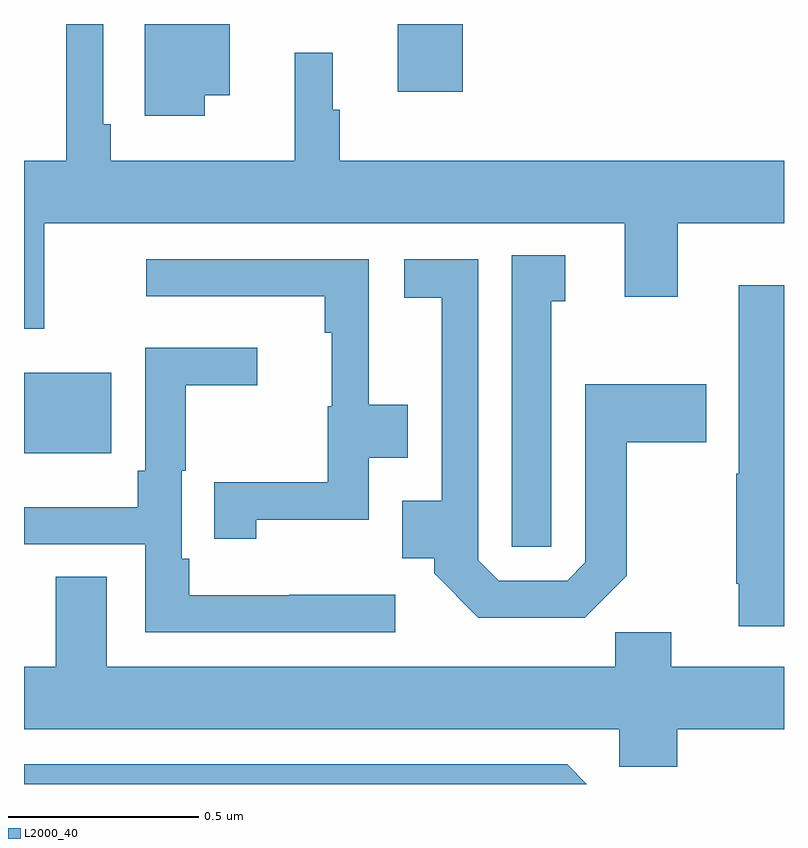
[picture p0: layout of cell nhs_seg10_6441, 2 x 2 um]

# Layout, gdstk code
import gdstk
lib = gdstk.Library(unit=1e-6, precision=1e-09)
def R(c, l, rs):  # rectangles x0, y0, x1, y1
    for r in rs: c.add(gdstk.rectangle(r[:2], r[2:], *l))
def P(c, l, *ps):  # polygons
    for p in ps: c.add(gdstk.Polygon(p, *l))
L2000_40 = (2000, 40)

nhs_seg10_6441 = lib.new_cell('nhs_seg10_6441')
R(nhs_seg10_6441, L2000_40, [(191,1306.37,191.23,1306.582), (191.984,1307.322,192.155,1307.5)])
P(nhs_seg10_6441, L2000_40, [(191.053,1306.976),(192.581,1306.976),(192.581,1306.782),(192.721,1306.782),(192.721,1306.976),(193,1306.976),(193,1307.14),(191.831,1307.14),(191.831,1307.274),(191.812,1307.274),(191.812,1307.425),(191.713,1307.425),(191.713,1307.14),(191.228,1307.14),(191.228,1307.236),(191.208,1307.236),(191.208,1307.5),(191.111,1307.5),(191.111,1307.14),(191,1307.14),(191,1306.698),(191.053,1306.698)],
  [(191.476,1307.312),(191.542,1307.312),(191.542,1307.5),(191.318,1307.5),(191.318,1307.259),(191.476,1307.259)],
  [(192.388,1306.77),(192.424,1306.77),(192.424,1306.891),(192.284,1306.891),(192.284,1306.125),(192.388,1306.125)],
  [(192.586,1306.048),(192.586,1306.4),(192.796,1306.4),(192.796,1306.552),(192.477,1306.552),(192.477,1306.083),(192.429,1306.035),(192.249,1306.035),(192.195,1306.089),(192.195,1306.881),(192,1306.881),(192,1306.78),(192.099,1306.78),(192.099,1306.246),(191.996,1306.246),(191.996,1306.094),(192.079,1306.094),(192.079,1306.055),(192.196,1305.938),(192.476,1305.938)],
  [(191.611,1306.196),(191.907,1306.196),(191.907,1306.358),(192.01,1306.358),(192.01,1306.498),(191.907,1306.498),(191.907,1306.881),(191.322,1306.881),(191.322,1306.784),(191.791,1306.784),(191.791,1306.688),(191.81,1306.688),(191.81,1306.494),(191.799,1306.494),(191.799,1306.294),(191.5,1306.294),(191.5,1306.146),(191.611,1306.146)],
  [(193,1306.813),(192.881,1306.813),(192.881,1306.316),(192.874,1306.316),(192.874,1306.027),(192.881,1306.027),(192.881,1305.915),(193,1305.915)],
  [(191.977,1305.998),(191.698,1305.998),(191.698,1305.997),(191.435,1305.997),(191.435,1306.093),(191.415,1306.093),(191.415,1306.324),(191.425,1306.324),(191.425,1306.549),(191.614,1306.549),(191.614,1306.648),(191.319,1306.648),(191.319,1306.324),(191.299,1306.324),(191.299,1306.228),(191,1306.228),(191,1306.131),(191.319,1306.131),(191.319,1305.9),(191.977,1305.9)],
  [(192.719,1305.644),(193,1305.644),(193,1305.808),(192.703,1305.808),(192.703,1305.899),(192.556,1305.899),(192.556,1305.808),(191.218,1305.808),(191.218,1306.045),(191.083,1306.045),(191.083,1305.808),(191,1305.808),(191,1305.644),(192.567,1305.644),(192.567,1305.546),(192.719,1305.546)],
  [(192.429,1305.552),(191,1305.552),(191,1305.5),(192.481,1305.5)])

lib.write_gds('nhs_seg10_6441.gds')
